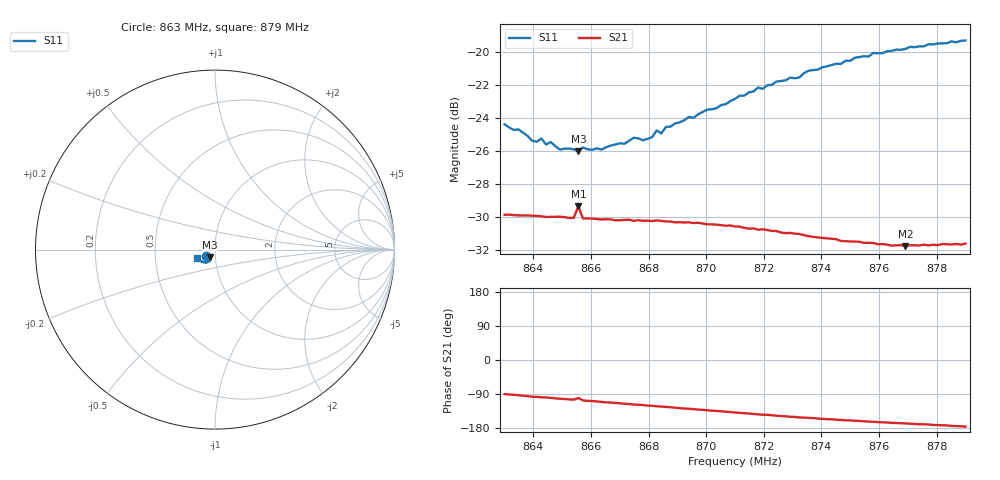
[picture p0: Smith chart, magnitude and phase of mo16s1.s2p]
# HZ S RI R 50
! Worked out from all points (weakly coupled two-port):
!   101 points, 863 MHz to 879 MHz, reference 50 ohm
!   highest |S21| = -29.34 dB at 865.56 MHz (marker M1); lowest = -31.8 dB at 876.92 MHz (marker M2)
!   lowest |S11| = -26.0 dB at 865.56 MHz (marker M3), VSWR 1.11, Z = 47 - j3.84 ohm
!   |S11| at or under -10 dB: start of sweep to end of sweep
!   S12 and S22 are empty: the file has one direction only
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8.63e8  -0.0478 -0.037  8.2e-05 -0.0321  0 0  0 0
8.6348e8  -0.0454 -0.0367  -0.0016 -0.032  0 0  0 0
8.6396e8  -0.0406 -0.0354  -0.00391 -0.0317  0 0  0 0
8.6428e8  -0.0395 -0.038  -0.00465 -0.0315  0 0  0 0
8.6444e8  -0.038 -0.0362  -0.00489 -0.0313  0 0  0 0
8.646e8  -0.0385 -0.037  -0.00548 -0.0312  0 0  0 0
8.6492e8  -0.035 -0.0366  -0.00668 -0.031  0 0  0 0
8.654e8  -0.0333 -0.0383  -0.00795 -0.0304  0 0  0 0
8.6556e8  -0.0293 -0.0407  -0.00616 -0.0335  0 0  0 0
8.6572e8  -0.0324 -0.0399  -0.0089 -0.03  0 0  0 0
8.6636e8  -0.0296 -0.0411  -0.0109 -0.0291  0 0  0 0
8.6748e8  -0.0265 -0.0483  -0.0142 -0.0273  0 0  0 0
8.6796e8  -0.0262 -0.0479  -0.0156 -0.0266  0 0  0 0
8.6828e8  -0.0257 -0.0519  -0.0164 -0.0262  0 0  0 0
8.6844e8  -0.0257 -0.0506  -0.0167 -0.0259  0 0  0 0
8.686e8  -0.026 -0.0534  -0.0171 -0.0255  0 0  0 0
8.71e8  -0.0328 -0.0643  -0.0222 -0.0196  0 0  0 0
8.718e8  -0.0395 -0.0674  -0.0233 -0.0172  0 0  0 0
8.7372e8  -0.0522 -0.0713  -0.0246 -0.0124  0 0  0 0
8.7644e8  -0.0779 -0.0643  -0.0251 -0.00635  0 0  0 0
8.7692e8  -0.0815 -0.0621  -0.0252 -0.00571  0 0  0 0
8.79e8  -0.0984 -0.0461  -0.0262 -0.00193  0 0  0 0
